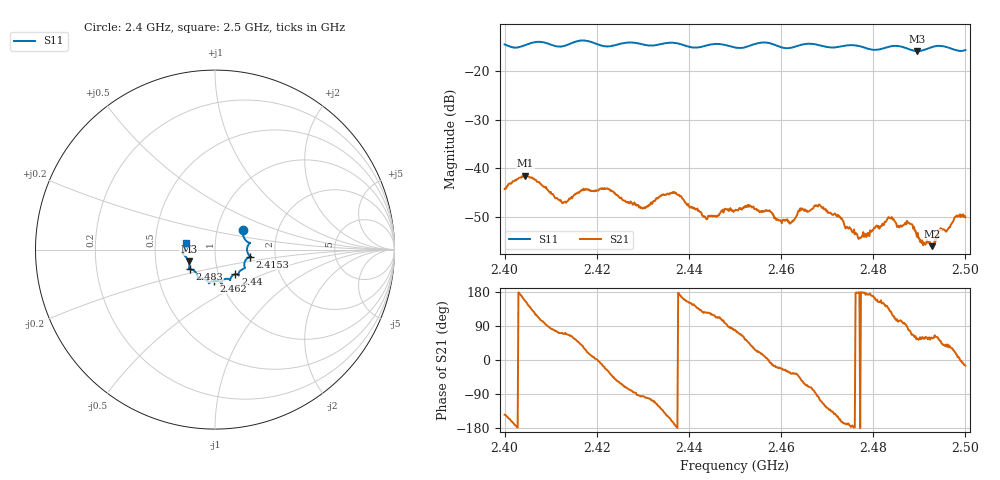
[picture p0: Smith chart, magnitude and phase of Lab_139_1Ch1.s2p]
# Hz S RI R 50
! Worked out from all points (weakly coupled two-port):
!   601 points, 2.4 GHz to 2.5 GHz, reference 50 ohm
!   highest |S21| = -41.46 dB at 2.4045 GHz (marker M1); lowest = -56.0 dB at 2.4928 GHz (marker M2)
!   lowest |S11| = -15.9 dB at 2.4895 GHz (marker M3), VSWR 1.38, Z = 37 - j4.98 ohm
!   |S11| at or under -10 dB: start of sweep to end of sweep
!   S12 and S22 are empty: the file has one direction only
!   S11 on the Smith chart (normalised r, x): 2.4 GHz: 1.33, +0.29; 2.4153 GHz: 1.48, -0.12; 2.44 GHz: 1.20, -0.34; 2.462 GHz: 0.93, -0.33; 2.483 GHz: 0.74, -0.17; 2.5 GHz: 0.72, +0.06
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2.4e9  0.1552 0.1065  -0.005 -0.00357  0 0  0 0
2.4045e9  0.1799 0.0435  -0.00767 0.00353  0 0  0 0
2.4125e9  0.1795 -0.00807  0.00138 0.00418  0 0  0 0
2.415333e9  0.1963 -0.0388  0.00313 0.00441  0 0  0 0
2.416667e9  0.2019 -0.0429  0.00455 0.00385  0 0  0 0
2.422167e9  0.1666 -0.0664  0.0056 -0.00269  0 0  0 0
2.43e9  0.153 -0.1098  -0.000338 -0.00386  0 0  0 0
2.433333e9  0.1311 -0.1336  -0.00255 -0.00426  0 0  0 0
2.436833e9  0.1322 -0.1437  -0.00564 -0.00104  0 0  0 0
2.44e9  0.1139 -0.1366  -0.00362 0.00198  0 0  0 0
2.4435e9  0.0872 -0.1594  -0.0019 0.00257  0 0  0 0
2.45e9  0.0647 -0.1625  0.000682 0.00365  0 0  0 0
2.462e9  -0.0051 -0.1732  0.00223 -0.00155  0 0  0 0
2.466667e9  -0.0344 -0.1877  0.00102 -0.00369  0 0  0 0
2.472167e9  -0.0715 -0.1611  -0.00277 -0.00164  0 0  0 0
2.477167e9  -0.0965 -0.1519  -0.00193 -9.63e-06  0 0  0 0
2.483e9  -0.1376 -0.1094  -0.00237 0.00181  0 0  0 0
2.483333e9  -0.1401 -0.1093  -0.00229 0.00219  0 0  0 0
2.4895e9  -0.1462 -0.0657  0.00109 0.00166  0 0  0 0
2.492833e9  -0.1748 -0.0283  0.000862 0.00134  0 0  0 0
2.494667e9  -0.1802 -0.0208  0.00158 0.00186  0 0  0 0
2.5e9  -0.1597 0.039  0.00305 -0.000789  0 0  0 0
